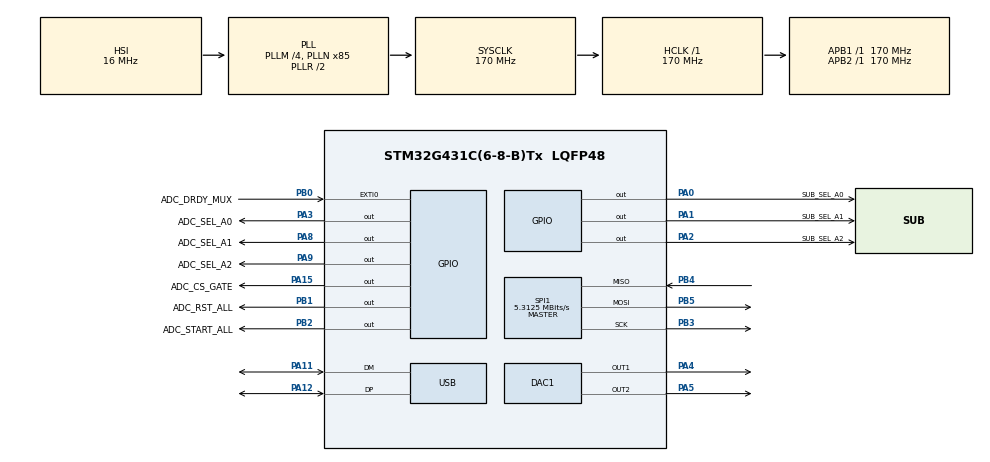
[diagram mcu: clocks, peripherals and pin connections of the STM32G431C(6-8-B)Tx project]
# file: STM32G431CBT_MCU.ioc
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DAC1.DAC_Channel-DAC_OUT2=DAC_CHANNEL_2
Mcu.Family=STM32G4
Mcu.Name=STM32G431C(6-8-B)Tx
Mcu.Package=LQFP48
NVIC.PriorityGroup=NVIC_PRIORITYGROUP_4
NVIC.USB_LP_IRQn=true\:0\:0\:false\:false\:true\:true\:true\:true
PA0.GPIO_Label=SUB_SEL_A0
PA0.Signal=GPIO_Output
PA1.GPIO_Label=SUB_SEL_A1
PA1.Signal=GPIO_Output
PA11.Mode=Device
PA11.Signal=USB_DM
PA12.Mode=Device
PA12.Signal=USB_DP
PA13.Mode=Serial_Wire
PA13.Signal=SYS_JTMS-SWDIO
PA14.Mode=Serial_Wire
PA14.Signal=SYS_JTCK-SWCLK
PA15.GPIO_Label=ADC_CS_GATE
PA15.PinState=GPIO_PIN_SET
PA15.Signal=GPIO_Output
PA2.GPIO_Label=SUB_SEL_A2
PA2.Signal=GPIO_Output
PA3.GPIO_Label=ADC_SEL_A0
PA3.Signal=GPIO_Output
PA4.Signal=COMP_DAC11_group
PA5.Signal=COMP_DAC12_group
PA8.GPIO_Label=ADC_SEL_A1
PA8.Signal=GPIO_Output
PA9.GPIO_Label=ADC_SEL_A2
PA9.Signal=GPIO_Output
PB0.GPIO_Label=ADC_DRDY_MUX
PB0.GPIO_ModeDefaultEXTI=GPIO_MODE_IT_FALLING
PB0.Signal=GPXTI0
PB1.GPIO_Label=ADC_RST_ALL
PB1.Signal=GPIO_Output
PB2.GPIO_Label=ADC_START_ALL
PB2.Signal=GPIO_Output
PB3.Mode=Full_Duplex_Master
PB3.Signal=SPI1_SCK
PB4.Mode=Full_Duplex_Master
PB4.Signal=SPI1_MISO
PB5.Mode=Full_Duplex_Master
PB5.Signal=SPI1_MOSI
ProjectManager.HeapSize=0x200
ProjectManager.StackSize=0x400
ProjectManager.TargetToolchain=EWARM V8.50
RCC.ADC12Freq_Value=170000000
RCC.AHBFreq_Value=170000000
RCC.APB1Freq_Value=170000000
RCC.APB1TimFreq_Value=170000000
RCC.APB2Freq_Value=170000000
RCC.APB2TimFreq_Value=170000000
RCC.CK48CLockSelection=RCC_USBCLKSOURCE_HSI48
RCC.CortexFreq_Value=170000000
RCC.EXTERNAL_CLOCK_VALUE=12288000
RCC.HCLKFreq_Value=170000000
RCC.HSE_VALUE=8000000
RCC.HSI48_VALUE=48000000
RCC.HSI_VALUE=16000000
RCC.LSE_VALUE=32768
RCC.PLLM=RCC_PLLM_DIV4
RCC.PLLN=85
RCC.SYSCLKFreq_VALUE=170000000
RCC.SYSCLKSource=RCC_SYSCLKSOURCE_PLLCLK
RCC.USBFreq_Value=48000000
RCC.VCOOutputFreq_Value=340000000
SH.COMP_DAC11_group.0=DAC1_OUT1,DAC_OUT1
SH.COMP_DAC12_group.0=DAC1_OUT2,DAC_OUT2
SPI1.BaudRatePrescaler=SPI_BAUDRATEPRESCALER_32
SPI1.CLKPhase=SPI_PHASE_2EDGE
SPI1.CalculateBaudRate=5.3125 MBits/s
SPI1.DataSize=SPI_DATASIZE_8BIT
SPI1.Direction=SPI_DIRECTION_2LINES
SPI1.Mode=SPI_MODE_MASTER
SPI1.VirtualType=VM_MASTER
USB_DEVICE.CLASS_NAME_FS=CDC
USB_DEVICE.USBD_LPM_ENABLED=0
USB_DEVICE.USBD_SELF_POWERED=0
USB_DEVICE.VirtualMode=Cdc
USB_DEVICE.VirtualModeFS=Cdc_FS
VP_SYS_VS_DBSignals.Mode=DisableDeadBatterySignals
VP_USB_DEVICE_VS_USB_DEVICE_CDC_FS.Mode=CDC_FS
board=custom

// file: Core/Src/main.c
/* USER CODE BEGIN Header */
/**
  ******************************************************************************
  * @file           : main.c
  * @brief          : Main program body
  ******************************************************************************
  * @attention
  *
  * Copyright (c) 2026 STMicroelectronics.
  * All rights reserved.
  *
  * This software is licensed under terms that can be found in the LICENSE file
  * in the root directory of this software component.
  * If no LICENSE file comes with this software, it is provided AS-IS.
  *
  ******************************************************************************
  */
/* USER CODE END Header */
#include "main.h"
#include "usb_device.h"

/* USER CODE BEGIN Includes */
#include "app.h"
#include "app_config.h"

/* USER CODE END Includes */

DAC_HandleTypeDef hdac1;

SPI_HandleTypeDef hspi1;

/* USER CODE BEGIN PV */
TIM_HandleTypeDef htim6;

/* USER CODE END PV */

void SystemClock_Config(void);
static void MX_GPIO_Init(void);
static void MX_DAC1_Init(void);
static void MX_SPI1_Init(void);
/* USER CODE BEGIN PFP */
static void MX_TIM6_Init_User(void);

/* USER CODE END PFP */

int main(void)
{

  /* MCU Configuration--------------------------------------------------------*/

  /* Reset of all peripherals, Initializes the Flash interface and the Systick. */
  HAL_Init();

  /* Configure the system clock */
  SystemClock_Config();

  /* Initialize all configured peripherals */
  MX_GPIO_Init();
  MX_DAC1_Init();
  MX_SPI1_Init();
  MX_USB_Device_Init();
  /* USER CODE BEGIN 2 */
  MX_TIM6_Init_User();
  app_init();
  /* USER CODE END 2 */

  /* Infinite loop */
  while (1)
  {

    /* USER CODE BEGIN 3 */
    app_run_once();
  }
  /* USER CODE END 3 */
}

void SystemClock_Config(void)
{
  RCC_OscInitTypeDef RCC_OscInitStruct = {0};
  RCC_ClkInitTypeDef RCC_ClkInitStruct = {0};

  /** Configure the main internal regulator output voltage
  */
  HAL_PWREx_ControlVoltageScaling(PWR_REGULATOR_VOLTAGE_SCALE1_BOOST);

  /** Initializes the RCC Oscillators according to the specified parameters
  * in the RCC_OscInitTypeDef structure.
  */
  RCC_OscInitStruct.OscillatorType = RCC_OSCILLATORTYPE_HSI|RCC_OSCILLATORTYPE_HSI48;
  RCC_OscInitStruct.HSIState = RCC_HSI_ON;
  RCC_OscInitStruct.HSICalibrationValue = RCC_HSICALIBRATION_DEFAULT;
  RCC_OscInitStruct.HSI48State = RCC_HSI48_ON;
  RCC_OscInitStruct.PLL.PLLState = RCC_PLL_ON;
  RCC_OscInitStruct.PLL.PLLSource = RCC_PLLSOURCE_HSI;
  RCC_OscInitStruct.PLL.PLLM = RCC_PLLM_DIV4;
  RCC_OscInitStruct.PLL.PLLN = 85;
  RCC_OscInitStruct.PLL.PLLP = RCC_PLLP_DIV2;
  RCC_OscInitStruct.PLL.PLLQ = RCC_PLLQ_DIV2;
  RCC_OscInitStruct.PLL.PLLR = RCC_PLLR_DIV2;
  if (HAL_RCC_OscConfig(&RCC_OscInitStruct) != HAL_OK)
  {
    Error_Handler();
  }

  /** Initializes the CPU, AHB and APB buses clocks
  */
  RCC_ClkInitStruct.ClockType = RCC_CLOCKTYPE_HCLK|RCC_CLOCKTYPE_SYSCLK
                              |RCC_CLOCKTYPE_PCLK1|RCC_CLOCKTYPE_PCLK2;
  RCC_ClkInitStruct.SYSCLKSource = RCC_SYSCLKSOURCE_PLLCLK;
  RCC_ClkInitStruct.AHBCLKDivider = RCC_SYSCLK_DIV1;
  RCC_ClkInitStruct.APB1CLKDivider = RCC_HCLK_DIV1;
  RCC_ClkInitStruct.APB2CLKDivider = RCC_HCLK_DIV1;

  if (HAL_RCC_ClockConfig(&RCC_ClkInitStruct, FLASH_LATENCY_4) != HAL_OK)
  {
    Error_Handler();
  }
}

static void MX_DAC1_Init(void)
{

  DAC_ChannelConfTypeDef sConfig = {0};

  /** DAC Initialization
  */
  hdac1.Instance = DAC1;
  if (HAL_DAC_Init(&hdac1) != HAL_OK)
  {
    Error_Handler();
  }

  /** DAC channel OUT1 config
  */
  sConfig.DAC_HighFrequency = DAC_HIGH_FREQUENCY_INTERFACE_MODE_AUTOMATIC;
  sConfig.DAC_DMADoubleDataMode = DISABLE;
  sConfig.DAC_SignedFormat = DISABLE;
  sConfig.DAC_SampleAndHold = DAC_SAMPLEANDHOLD_DISABLE;
  sConfig.DAC_Trigger = DAC_TRIGGER_NONE;
  sConfig.DAC_Trigger2 = DAC_TRIGGER_NONE;
  sConfig.DAC_OutputBuffer = DAC_OUTPUTBUFFER_ENABLE;
  sConfig.DAC_ConnectOnChipPeripheral = DAC_CHIPCONNECT_EXTERNAL;
  sConfig.DAC_UserTrimming = DAC_TRIMMING_FACTORY;
  if (HAL_DAC_ConfigChannel(&hdac1, &sConfig, DAC_CHANNEL_1) != HAL_OK)
  {
    Error_Handler();
  }

  /** DAC channel OUT2 config
  */
  if (HAL_DAC_ConfigChannel(&hdac1, &sConfig, DAC_CHANNEL_2) != HAL_OK)
  {
    Error_Handler();
  }

}

static void MX_SPI1_Init(void)
{

  /* SPI1 parameter configuration*/
  hspi1.Instance = SPI1;
  hspi1.Init.Mode = SPI_MODE_MASTER;
  hspi1.Init.Direction = SPI_DIRECTION_2LINES;
  hspi1.Init.DataSize = SPI_DATASIZE_8BIT;
  hspi1.Init.CLKPolarity = SPI_POLARITY_LOW;
  hspi1.Init.CLKPhase = SPI_PHASE_2EDGE;
  hspi1.Init.NSS = SPI_NSS_SOFT;
  hspi1.Init.BaudRatePrescaler = SPI_BAUDRATEPRESCALER_32;
  hspi1.Init.FirstBit = SPI_FIRSTBIT_MSB;
  hspi1.Init.TIMode = SPI_TIMODE_DISABLE;
  hspi1.Init.CRCCalculation = SPI_CRCCALCULATION_DISABLE;
  hspi1.Init.CRCPolynomial = 7;
  hspi1.Init.CRCLength = SPI_CRC_LENGTH_DATASIZE;
  hspi1.Init.NSSPMode = SPI_NSS_PULSE_DISABLE;
  if (HAL_SPI_Init(&hspi1) != HAL_OK)
  {
    Error_Handler();
  }

}

static void MX_GPIO_Init(void)
{
  GPIO_InitTypeDef GPIO_InitStruct = {0};

  /* GPIO Ports Clock Enable */
  __HAL_RCC_GPIOA_CLK_ENABLE();
  __HAL_RCC_GPIOB_CLK_ENABLE();

  /*Configure GPIO pin Output Level */
  HAL_GPIO_WritePin(GPIOA, SUB_SEL_A0_Pin|SUB_SEL_A1_Pin|SUB_SEL_A2_Pin|ADC_SEL_A0_Pin
                          |ADC_SEL_A1_Pin|ADC_SEL_A2_Pin, GPIO_PIN_RESET);

  /*Configure GPIO pin Output Level */
  HAL_GPIO_WritePin(GPIOB, ADC_RST_ALL_Pin|ADC_START_ALL_Pin, GPIO_PIN_RESET);

  /*Configure GPIO pin Output Level */
  HAL_GPIO_WritePin(ADC_CS_GATE_GPIO_Port, ADC_CS_GATE_Pin, GPIO_PIN_SET);

  /*Configure GPIO pins : SUB_SEL_A0_Pin SUB_SEL_A1_Pin SUB_SEL_A2_Pin ADC_SEL_A0_Pin
                           ADC_SEL_A1_Pin ADC_SEL_A2_Pin ADC_CS_GATE_Pin */
  GPIO_InitStruct.Pin = SUB_SEL_A0_Pin|SUB_SEL_A1_Pin|SUB_SEL_A2_Pin|ADC_SEL_A0_Pin
                          |ADC_SEL_A1_Pin|ADC_SEL_A2_Pin|ADC_CS_GATE_Pin;
  GPIO_InitStruct.Mode = GPIO_MODE_OUTPUT_PP;
  GPIO_InitStruct.Pull = GPIO_NOPULL;
  GPIO_InitStruct.Speed = GPIO_SPEED_FREQ_LOW;
  HAL_GPIO_Init(GPIOA, &GPIO_InitStruct);

  /*Configure GPIO pin : ADC_DRDY_MUX_Pin */
  GPIO_InitStruct.Pin = ADC_DRDY_MUX_Pin;
  GPIO_InitStruct.Mode = GPIO_MODE_IT_FALLING;
  GPIO_InitStruct.Pull = GPIO_NOPULL;
  HAL_GPIO_Init(ADC_DRDY_MUX_GPIO_Port, &GPIO_InitStruct);

  /*Configure GPIO pins : ADC_RST_ALL_Pin ADC_START_ALL_Pin */
  GPIO_InitStruct.Pin = ADC_RST_ALL_Pin|ADC_START_ALL_Pin;
  GPIO_InitStruct.Mode = GPIO_MODE_OUTPUT_PP;
  GPIO_InitStruct.Pull = GPIO_NOPULL;
  GPIO_InitStruct.Speed = GPIO_SPEED_FREQ_LOW;
  HAL_GPIO_Init(GPIOB, &GPIO_InitStruct);

/* USER CODE BEGIN MX_GPIO_Init_2 */
  HAL_NVIC_SetPriority(EXTI0_IRQn, 1, 0);
  HAL_NVIC_EnableIRQ(EXTI0_IRQn);
/* USER CODE END MX_GPIO_Init_2 */
}

/* USER CODE BEGIN 4 */
static void MX_TIM6_Init_User(void)
{
  __HAL_RCC_TIM6_CLK_ENABLE();

  htim6.Instance = TIM6;
  htim6.Init.Prescaler = APP_TIM6_PRESCALER;
  htim6.Init.CounterMode = TIM_COUNTERMODE_UP;
  htim6.Init.Period = APP_TIM6_PERIOD;
  htim6.Init.AutoReloadPreload = TIM_AUTORELOAD_PRELOAD_DISABLE;
  if (HAL_TIM_Base_Init(&htim6) != HAL_OK)
  {
    Error_Handler();
  }

  HAL_NVIC_SetPriority(TIM6_DAC_IRQn, 2, 0);
  HAL_NVIC_EnableIRQ(TIM6_DAC_IRQn);
}

/* USER CODE END 4 */

void Error_Handler(void)
{
  __disable_irq();
  while (1)
  {
  }
}

#ifdef  USE_FULL_ASSERT
/**
  * @brief  Reports the name of the source file and the source line number
  *         where the assert_param error has occurred.
  * @param  file: pointer to the source file name
  * @param  line: assert_param error line source number
  * @retval None
  */
void assert_failed(uint8_t *file, uint32_t line)
{
  /* USER CODE BEGIN 6 */
  UNUSED(file);
  UNUSED(line);
  /* USER CODE END 6 */
}
#endif /* USE_FULL_ASSERT */
